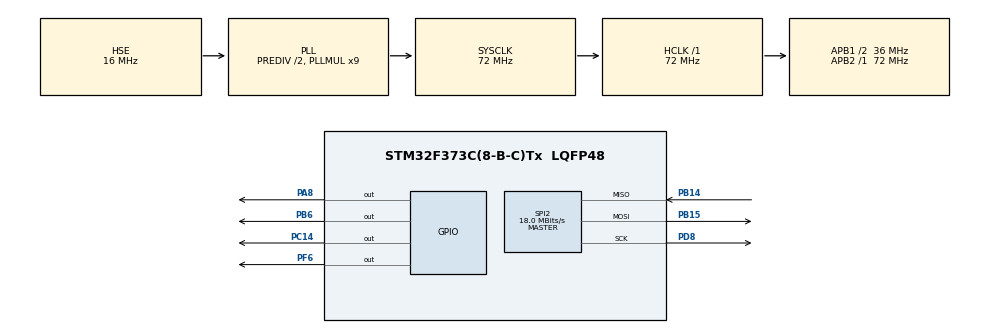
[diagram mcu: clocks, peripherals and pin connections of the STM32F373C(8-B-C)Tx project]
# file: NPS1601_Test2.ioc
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FREERTOS.Tasks01=defaultTask,24,512,StartDefaultTask,Default,NULL,Dynamic,NULL,NULL
FREERTOS.configMINIMAL_STACK_SIZE=256
FREERTOS.configTOTAL_HEAP_SIZE=12288
FREERTOS.configUSE_TICK_HOOK=1
Mcu.Family=STM32F3
Mcu.Name=STM32F373C(8-B-C)Tx
Mcu.Package=LQFP48
NVIC.PriorityGroup=NVIC_PRIORITYGROUP_4
NVIC.TIM12_IRQn=true\:0\:0\:false\:false\:true\:false\:false\:true
NVIC.TimeBase=TIM12_IRQn
NVIC.TimeBaseIP=TIM12
PA8.Signal=GPIO_Output
PB14.Mode=Full_Duplex_Master
PB14.Signal=SPI2_MISO
PB15.Mode=Full_Duplex_Master
PB15.Signal=SPI2_MOSI
PB6.Signal=GPIO_Output
PC14-OSC32_IN.Signal=GPIO_Output
PD8.Mode=Full_Duplex_Master
PD8.Signal=SPI2_SCK
PF0-OSC_IN.Mode=HSE-External-Oscillator
PF0-OSC_IN.Signal=RCC_OSC_IN
PF1-OSC_OUT.Mode=HSE-External-Oscillator
PF1-OSC_OUT.Signal=RCC_OSC_OUT
PF6.Signal=GPIO_Output
ProjectManager.HeapSize=0x800
ProjectManager.StackSize=0x1000
ProjectManager.TargetToolchain=STM32CubeIDE
RCC.AHBFreq_Value=72000000
RCC.APB1CLKDivider=RCC_HCLK_DIV2
RCC.APB1Freq_Value=36000000
RCC.APB1TimFreq_Value=72000000
RCC.APB2Freq_Value=72000000
RCC.APB2TimFreq_Value=72000000
RCC.CortexFreq_Value=72000000
RCC.HCLKFreq_Value=72000000
RCC.HSE_VALUE=16000000
RCC.HSI_VALUE=8000000
RCC.LSE_VALUE=32768
RCC.PLLMUL=RCC_PLL_MUL9
RCC.PLLSourceVirtual=RCC_PLLSOURCE_HSE
RCC.RCC_PLLsource_Clock_Source_FROM_HSE=RCC_HSE_PREDIV_DIV2
RCC.SYSCLKFreq_VALUE=72000000
RCC.SYSCLKSource=RCC_SYSCLKSOURCE_PLLCLK
RCC.USBFreq_Value=72000000
SPI2.BaudRatePrescaler=SPI_BAUDRATEPRESCALER_2
SPI2.CLKPhase=SPI_PHASE_1EDGE
SPI2.CLKPolarity=SPI_POLARITY_HIGH
SPI2.CalculateBaudRate=18.0 MBits/s
SPI2.DataSize=SPI_DATASIZE_8BIT
SPI2.Direction=SPI_DIRECTION_2LINES
SPI2.Mode=SPI_MODE_MASTER
SPI2.VirtualType=VM_MASTER
VP_FREERTOS_VS_CMSIS_V2.Mode=CMSIS_V2
VP_SYS_VS_tim12.Mode=TIM12
board=custom

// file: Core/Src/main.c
/* USER CODE BEGIN Header */
/**
  ******************************************************************************
  * @file           : main.c
  * @brief          : Main program body
  ******************************************************************************
  * @attention
  *
  * <h2><center>&copy; Copyright (c) 2020 STMicroelectronics.
  * All rights reserved.</center></h2>
  *
  * This software component is licensed by ST under BSD 3-Clause license,
  * the "License"; You may not use this file except in compliance with the
  * License. You may obtain a copy of the License at:
  *                        opensource.org/licenses/BSD-3-Clause
  *
  ******************************************************************************
  */
/* USER CODE END Header */
#include "main.h"
#include "cmsis_os.h"
#include "spi.h"
#include "gpio.h"

/* USER CODE BEGIN Includes */
#include "lvgl/lvgl.h"
#include "lcd_driver/ili9341.h"

/* USER CODE END Includes */

void SystemClock_Config(void);
void MX_FREERTOS_Init(void);

/* USER CODE BEGIN 0 */
void LV_Init(void) {
	lv_init();

	ILI9341_Init();

    static lv_disp_buf_t disp_buf;
	static lv_color_t buf_1[LV_HOR_RES_MAX * 10];
	lv_disp_buf_init(&disp_buf, buf_1, NULL, LV_HOR_RES_MAX * 10);

	lv_disp_drv_t disp_drv;
	lv_disp_drv_init(&disp_drv);
	disp_drv.buffer = &disp_buf;
	disp_drv.flush_cb = ILI9341_flush;

	lv_disp_drv_register(&disp_drv);
}
/* USER CODE END 0 */

int main(void)
{

  /* MCU Configuration--------------------------------------------------------*/

  /* Reset of all peripherals, Initializes the Flash interface and the Systick. */
  HAL_Init();

  /* Configure the system clock */
  SystemClock_Config();

  /* Initialize all configured peripherals */
  MX_GPIO_Init();
  MX_SPI2_Init();
  /* USER CODE BEGIN 2 */

  // init GUI
  LV_Init();

  /* USER CODE END 2 */

  /* Init scheduler */
  osKernelInitialize();  /* Call init function for freertos objects (in freertos.c) */
  MX_FREERTOS_Init();
  /* Start scheduler */
  osKernelStart();

  /* We should never get here as control is now taken by the scheduler */
  /* Infinite loop */
  while (1)
  {

  }
}

void SystemClock_Config(void)
{
  RCC_OscInitTypeDef RCC_OscInitStruct = {0};
  RCC_ClkInitTypeDef RCC_ClkInitStruct = {0};

  /** Initializes the RCC Oscillators according to the specified parameters
  * in the RCC_OscInitTypeDef structure.
  */
  RCC_OscInitStruct.OscillatorType = RCC_OSCILLATORTYPE_HSE;
  RCC_OscInitStruct.HSEState = RCC_HSE_ON;
  RCC_OscInitStruct.HSEPredivValue = RCC_HSE_PREDIV_DIV2;
  RCC_OscInitStruct.HSIState = RCC_HSI_ON;
  RCC_OscInitStruct.PLL.PLLState = RCC_PLL_ON;
  RCC_OscInitStruct.PLL.PLLSource = RCC_PLLSOURCE_HSE;
  RCC_OscInitStruct.PLL.PLLMUL = RCC_PLL_MUL9;
  if (HAL_RCC_OscConfig(&RCC_OscInitStruct) != HAL_OK)
  {
    Error_Handler();
  }
  /** Initializes the CPU, AHB and APB buses clocks
  */
  RCC_ClkInitStruct.ClockType = RCC_CLOCKTYPE_HCLK|RCC_CLOCKTYPE_SYSCLK
                              |RCC_CLOCKTYPE_PCLK1|RCC_CLOCKTYPE_PCLK2;
  RCC_ClkInitStruct.SYSCLKSource = RCC_SYSCLKSOURCE_PLLCLK;
  RCC_ClkInitStruct.AHBCLKDivider = RCC_SYSCLK_DIV1;
  RCC_ClkInitStruct.APB1CLKDivider = RCC_HCLK_DIV2;
  RCC_ClkInitStruct.APB2CLKDivider = RCC_HCLK_DIV1;

  if (HAL_RCC_ClockConfig(&RCC_ClkInitStruct, FLASH_LATENCY_2) != HAL_OK)
  {
    Error_Handler();
  }
}

void HAL_TIM_PeriodElapsedCallback(TIM_HandleTypeDef *htim)
{
  if (htim->Instance == TIM12) {
    HAL_IncTick();
  }
}

void Error_Handler(void)
{
}

/************************ (C) COPYRIGHT STMicroelectronics *****END OF FILE****/

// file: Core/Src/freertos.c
/* USER CODE BEGIN Header */
/**
  ******************************************************************************
  * File Name          : freertos.c
  * Description        : Code for freertos applications
  ******************************************************************************
  * @attention
  *
  * <h2><center>&copy; Copyright (c) 2020 STMicroelectronics.
  * All rights reserved.</center></h2>
  *
  * This software component is licensed by ST under Ultimate Liberty license
  * SLA0044, the "License"; You may not use this file except in compliance with
  * the License. You may obtain a copy of the License at:
  *                             www.st.com/SLA0044
  *
  ******************************************************************************
  */
/* USER CODE END Header */

#include "FreeRTOS.h"
#include "task.h"
#include "main.h"
#include "cmsis_os.h"

/* USER CODE BEGIN Includes */
#include "lvgl/lvgl.h"
#include "FreeRTOS_user.h"
/* USER CODE END Includes */

/* USER CODE BEGIN Variables */

osThreadId_t lvglTaskHandle;
const osThreadAttr_t lvglTask_attributes = {
  .name = "LvGLTask",
  .priority = (osPriority_t) osPriorityLow,
  .stack_size = 512 * 4
};

osThreadId_t guiTaskHandle;
const osThreadAttr_t guiTask_attributes = {
  .name = "GUITask",
  .priority = (osPriority_t) osPriorityLow,
  .stack_size = 512 * 4
};

/* USER CODE END Variables */
/* Definitions for defaultTask */
osThreadId_t defaultTaskHandle;
const osThreadAttr_t defaultTask_attributes = {
  .name = "defaultTask",
  .priority = (osPriority_t) osPriorityNormal,
  .stack_size = 512 * 4
};

void StartDefaultTask(void *argument);

void MX_FREERTOS_Init(void); /* (MISRA C 2004 rule 8.1) */

/* Hook prototypes */
void vApplicationTickHook(void);

/* USER CODE BEGIN 3 */
__weak void vApplicationTickHook( void )
{
   /* This function will be called by each tick interrupt if
   configUSE_TICK_HOOK is set to 1 in FreeRTOSConfig.h. User code can be
   added here, but the tick hook is called from an interrupt context, so
   code must not attempt to block, and only the interrupt safe FreeRTOS API
   functions can be used (those that end in FromISR()). */

	lv_tick_inc(1); /* inform LittlevGL that another 1 ms time elapsed */
}
/* USER CODE END 3 */

void MX_FREERTOS_Init(void) {

  /* Create the thread(s) */
  /* creation of defaultTask */
  defaultTaskHandle = osThreadNew(StartDefaultTask, NULL, &defaultTask_attributes);

  /* USER CODE BEGIN RTOS_THREADS */
  /* add threads, ... */

  lvglTaskHandle = osThreadNew(StartLvGLTask, NULL, &lvglTask_attributes);
  guiTaskHandle = osThreadNew(StartGUITask, NULL, &guiTask_attributes);

  /* USER CODE END RTOS_THREADS */

}

void StartDefaultTask(void *argument)
{
  /* USER CODE BEGIN StartDefaultTask */
  /* Infinite loop */
  for(;;)
  {
      HAL_GPIO_TogglePin(PSU_ENABLE_GPIO_Port, PSU_ENABLE_Pin);
	  osDelay(500);
  }
  /* USER CODE END StartDefaultTask */
}

/* USER CODE BEGIN Application */

void StartLvGLTask(void *argument) {
	  for(;;)
	  {
			lv_task_handler();
			osDelay(10);
	  }
}

void StartGUITask(void *argument) {
	  hello_world();

	  for(;;)
	  {
	  }
}

void hello_world(void) {
    lv_obj_t * btn = lv_btn_create(lv_scr_act(), NULL);     /*Add a button the current screen*/
    lv_obj_set_pos(btn, 10, 10);                            /*Set its position*/
    lv_obj_set_size(btn, 120, 50);                          /*Set its size*/

    lv_obj_t * label1 = lv_label_create(btn, NULL);           /*Add a label to the button*/
    lv_label_set_text(label1, "Power it up!");                /*Set the labels text*/

    lv_obj_t * label2 = lv_label_create(lv_scr_act(), NULL);  /*Add a label to the button*/
    lv_label_set_text(label2, "CC");                          /*Set the labels text*/
    lv_obj_set_pos(label2, 280, 10);                          /*Set its position*/

    /* Create a slider in the center of the display */
    lv_obj_t * slider = lv_slider_create(lv_scr_act(), NULL);
    lv_obj_set_width(slider, 200);                        /*Set the width*/
    lv_obj_align(slider, NULL, LV_ALIGN_CENTER, 0, 0);    /*Align to the center of the parent (screen)*/

    /* Create a label below the slider */
    lv_obj_t * label3 = lv_label_create(lv_scr_act(), NULL);
    lv_label_set_text(label3, "Output Voltage: 0V");
    lv_obj_set_auto_realign(slider, true);                           /*To keep center alignment when the width of the text changes*/
    lv_obj_align(label3, slider, LV_ALIGN_OUT_BOTTOM_MID, 0, 20);    /*Align below the slider*/
}

/* USER CODE END Application */

/************************ (C) COPYRIGHT STMicroelectronics *****END OF FILE****/
